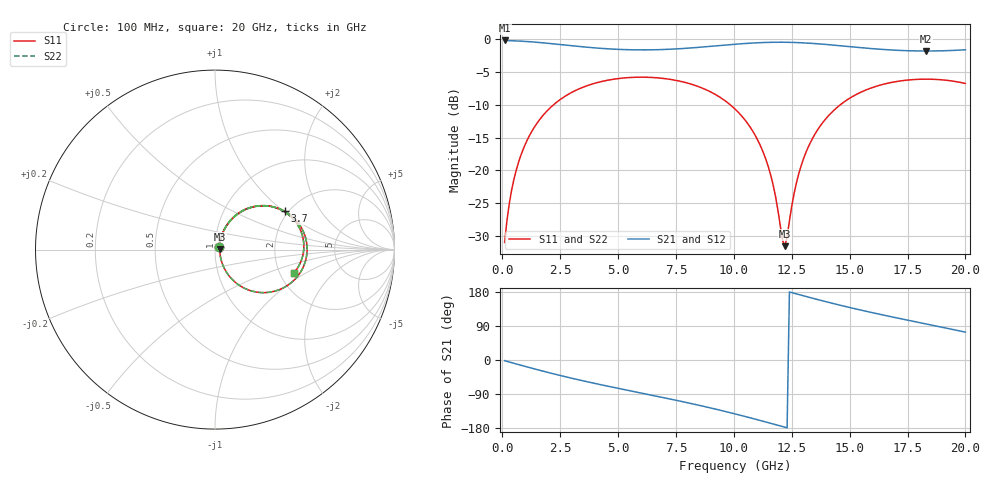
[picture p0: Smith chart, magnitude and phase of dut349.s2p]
! Touchstone file exported from HFSS 2026.1.0
!  File:  C:/ffzhzh/LocalFiles/Ansys_Project_Files/temp_train_TSV_RDL_349_1783036376_53980.aedt
!  Generated:  08:13:51 AM Jul  3, 2026
!  Design:  TSV_RDL
!  Project:  temp_train_TSV_RDL_349_1783036376_53980
! Variables:
!  h_bsmrdl = 4.79um
!  h_ox = 20um
!  h_rdl = 5um
!  h_sub = 62.75um
!  h_tmrdl = 3.96um
!  h_tsv = 62.75um
!  h_via = 3um
!  l_bsmrdl = 727.48um
!  l_sub = 5096.95um
!  l_tmrdl = 597.66um
!  m_sub = 200um
!  pitch = 42.91um
!  r_tsv = 4.02um
!  s_tmrdl = 10um
!  w_bsmrdl = 22.09um
!  w_sub = 500um
!  w_tmrdl = 19.2um
!  x_tsv_center1 = 607.26um
!  x_tsv_center2 = 1356.83um
!  x_tsv_center3 = 1973.69um
!  x_tsv_center4 = 2723.26um
!  x_tsv_center5 = 3340.12um
!  x_tsv_center6 = 4089.69um
# GHz S MA R 50.000000
! Terminal data exported
! Port[1] = TM_RDL1_1_T1
! Port[2] = TM_RDL5_1_T1
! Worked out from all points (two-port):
!   200 points, 100 MHz to 20 GHz, reference 50 ohm
!   highest |S21| = -0.20 dB at 100 MHz (marker M1); lowest = -1.8 dB at 18.3 GHz (marker M2)
!   |S21| within 3 dB of the highest: start of sweep to end of sweep
!   lowest |S11| = -31.6 dB at 12.2 GHz (marker M3), VSWR 1.05, Z = 52.7 + j0.229 ohm
!   |S11| at or under -10 dB: start of sweep to 2.214 GHz; 9.843 GHz to 14.6 GHz (4.755 GHz wide, 38.9 % of centre)
!   |S22| runs from -31.6 to -5.8 dB; largest |S21 - S12| = 1.7e-14
!   S11 on the Smith chart (normalised r, x): 100 MHz: 1.05, +0.04; 3.7 GHz: 1.92, +1.02; 20 GHz: 2.40, -0.78
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0.1  0.02819 36.4  0.9777 -1.8  0.9777 -1.8  0.02819 36.4
! Gamma 0 0 0 0
! Port Impedance 50 0 50 0
0.3  0.05555 59.1  0.9748 -5.3  0.9748 -5.3  0.05555 59.1
0.5  0.08511 64.2  0.9717 -8.7  0.9717 -8.7  0.08511 64.2
1.1  0.1735 62.5  0.9588 -18.8  0.9588 -18.8  0.1735 62.5
2.1  0.3034 50.0  0.9254 -34.8  0.9254 -34.8  0.3034 50.0
3.5  0.4313 31.2  0.8734 -55.1  0.8734 -55.1  0.4313 31.2
3.7  0.4443 28.7  0.867 -57.9  0.867 -57.9  0.4443 28.7
5.3  0.5071 8.9  0.8324 -78.5  0.8324 -78.5  0.5071 8.9
6.8  0.5055 -9.0  0.8323 -97.2  0.8323 -97.2  0.5055 -9.0
8.6  0.4263 -31.2  0.8698 -120.9  0.8698 -120.9  0.4263 -31.2
10.1  0.2877 -50.8  0.9162 -143.0  0.9162 -143.0  0.2878 -50.8
10.8  0.2011 -59.3  0.9344 -154.1  0.9344 -154.1  0.2011 -59.3
11.4  0.1189 -63.5  0.9445 -163.9  0.9445 -163.9  0.1189 -63.6
11.7  0.07692 -61.1  0.9471 -168.9  0.9471 -168.9  0.07689 -61.2
12.1  0.0294 -23.9  0.9478 -175.6  0.9478 -175.6  0.02928 -24.1
12.2  0.02643 4.7  0.9474 -177.2  0.9474 -177.2  0.02628 4.7
12.8  0.09375 64.7  0.9411 172.8  0.9411 172.8  0.09368 64.8
13.4  0.1755 62.9  0.9283 163.0  0.9283 163.0  0.1754 63.0
14.7  0.3265 47.5  0.8875 142.9  0.8875 142.9  0.3264 47.6
16.7  0.4638 22.6  0.8291 115.4  0.8291 115.4  0.4638 22.6
18.3  0.4958 3.8  0.8122 95.2  0.8122 95.2  0.4957 3.8
20  0.4593 -16.2  0.8301 73.5  0.8301 73.5  0.4593 -16.2
